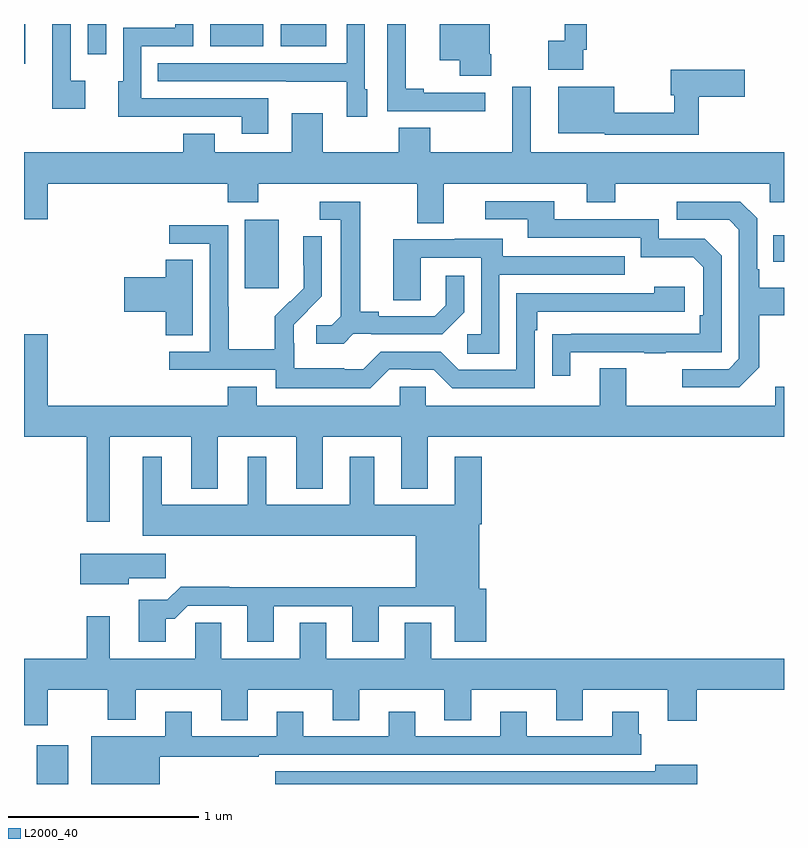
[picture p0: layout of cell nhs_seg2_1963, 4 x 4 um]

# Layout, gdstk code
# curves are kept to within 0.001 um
import gdstk
lib = gdstk.Library(unit=1e-6, precision=1e-09)
def R(c, l, rs):  # rectangles x0, y0, x1, y1
    for r in rs: c.add(gdstk.rectangle(r[:2], r[2:], *l))
def P(c, l, *ps):  # polygons
    for p in ps: c.add(gdstk.Polygon(p, *l))
L2000_40 = (2000, 40)

nhs_seg2_1963 = lib.new_cell('nhs_seg2_1963')
R(nhs_seg2_1963, L2000_40, [(213.067,653.8,213.232,654.004), (214.163,656.409,214.342,656.77), (216.943,656.549,217,656.689), (213,657.59,213.007,657.8), (213.336,657.642,213.432,657.8), (213.98,657.683,214.258,657.8), (214.352,657.683,214.591,657.8)])
P(nhs_seg2_1963, L2000_40, [(213.322,657.502),(213.246,657.502),(213.246,657.8),(213.149,657.8),(213.149,657.354),(213.322,657.354)],
  [(215.428,657.438),(215.104,657.438),(215.104,657.458),(215.009,657.458),(215.009,657.8),(214.911,657.8),(214.911,657.342),(215.428,657.342)],
  [(215.46,657.64),(215.452,657.64),(215.452,657.8),(215.189,657.8),(215.189,657.608),(215.294,657.608),(215.294,657.528),(215.46,657.528)],
  [(214.285,657.408),(213.618,657.408),(213.618,657.684),(213.891,657.684),(213.891,657.8),(213.795,657.8),(213.795,657.78),(213.522,657.78),(213.522,657.498),(213.497,657.498),(213.497,657.311),(213.715,657.311),(213.715,657.312),(214.145,657.312),(214.145,657.222),(214.285,657.222)],
  [(215.943,657.664),(215.963,657.664),(215.963,657.8),(215.846,657.8),(215.846,657.713),(215.76,657.713),(215.76,657.56),(215.943,657.56)],
  [(214.807,657.456),(214.794,657.456),(214.794,657.8),(214.698,657.8),(214.698,657.594),(213.703,657.594),(213.703,657.498),(214.381,657.498),(214.381,657.497),(214.698,657.497),(214.698,657.312),(214.807,657.312)],
  [(216.551,657.418),(216.793,657.418),(216.793,657.56),(216.404,657.56),(216.404,657.425),(216.423,657.425),(216.423,657.332),(216.106,657.332),(216.106,657.469),(215.813,657.469),(215.813,657.224),(216.057,657.224),(216.057,657.216),(216.551,657.216)],
  [(213,656.772),(213.124,656.772),(213.124,656.96),(214.073,656.96),(214.073,656.861),(214.233,656.861),(214.233,656.96),(215.069,656.96),(215.069,656.752),(215.209,656.752),(215.209,656.96),(215.963,656.96),(215.963,656.861),(216.111,656.861),(216.111,656.96),(216.924,656.96),(216.924,656.861),(217,656.861),(217,657.124),(215.668,657.124),(215.668,657.469),(215.57,657.469),(215.57,657.124),(215.137,657.124),(215.137,657.253),(214.973,657.253),(214.973,657.124),(214.573,657.124),(214.573,657.331),(214.409,657.331),(214.409,657.124),(214.003,657.124),(214.003,657.223),(213.839,657.223),(213.839,657.124),(213,657.124)],
  [(215.875,656.073),(216.265,656.073),(216.265,656.068),(216.377,656.068),(216.377,656.073),(216.672,656.073),(216.672,656.58),(216.582,656.67),(216.342,656.67),(216.342,656.772),(215.791,656.772),(215.791,656.868),(215.427,656.868),(215.427,656.772),(215.651,656.772),(215.651,656.676),(216.246,656.676),(216.246,656.573),(216.523,656.573),(216.576,656.52),(216.576,656.266),(216.556,656.266),(216.556,656.169),(215.779,656.168),(215.779,655.95),(215.875,655.95)],
  [(214.734,656.169),(214.828,656.169),(214.828,656.166),(215.2,656.166),(215.316,656.282),(215.316,656.476),(215.219,656.476),(215.219,656.319),(215.162,656.262),(214.867,656.262),(214.867,656.285),(214.771,656.285),(214.771,656.865),(214.557,656.865),(214.557,656.769),(214.667,656.769),(214.667,656.261),(214.62,656.214),(214.539,656.214),(214.539,656.117),(214.682,656.117)],
  [(216.871,655.993),(216.871,656.266),(217,656.266),(217,656.413),(216.871,656.413),(216.871,656.509),(216.858,656.509),(216.858,656.778),(216.771,656.865),(216.435,656.865),(216.435,656.769),(216.711,656.769),(216.762,656.718),(216.762,656.037),(216.708,655.983),(216.465,655.983),(216.465,655.887),(216.765,655.887)],
  [(214.923,655.983),(215.039,655.983),(215.039,655.98),(215.157,655.98),(215.253,655.884),(215.688,655.884),(215.688,656.189),(215.701,656.189),(215.701,656.286),(216.478,656.286),(216.478,656.416),(216.317,656.416),(216.317,656.382),(215.592,656.382),(215.592,655.98),(215.289,655.98),(215.193,656.076),(214.878,656.076),(214.785,655.983),(214.685,655.983),(214.685,655.987),(214.422,655.987),(214.422,656.121),(214.42,656.121),(214.42,656.218),(214.566,656.366),(214.566,656.684),(214.47,656.684),(214.47,656.53),(214.472,656.53),(214.472,656.408),(214.401,656.337),(214.398,656.34),(214.321,656.263),(214.321,656.089),(214.077,656.089),(214.077,656.312),(214.074,656.312),(214.074,656.742),(213.765,656.742),(213.765,656.643),(213.978,656.643),(213.978,656.076),(213.765,656.076),(213.765,655.98),(214.326,655.98),(214.326,655.883),(214.823,655.883)],
  [(215.502,656.481),(216.161,656.481),(216.161,656.577),(215.521,656.577),(215.521,656.671),(215.267,656.671),(215.267,656.667),(214.943,656.667),(214.943,656.347),(215.088,656.347),(215.088,656.571),(215.406,656.571),(215.406,656.166),(215.334,656.166),(215.334,656.065),(215.502,656.065)],
  [(213.889,656.558),(213.746,656.558),(213.746,656.468),(213.528,656.468),(213.528,656.285),(213.746,656.285),(213.746,656.161),(213.889,656.161)],
  [(213.451,655.628),(213.881,655.628),(213.881,655.355),(214.021,655.355),(214.021,655.628),(214.433,655.628),(214.433,655.355),(214.573,655.355),(214.573,655.628),(214.985,655.628),(214.985,655.355),(215.125,655.355),(215.125,655.628),(217,655.628),(217,655.891),(216.953,655.891),(216.953,655.792),(216.169,655.792),(216.169,655.987),(216.029,655.987),(216.029,655.792),(215.115,655.792),(215.115,655.89),(214.977,655.89),(214.977,655.792),(214.225,655.792),(214.225,655.891),(214.073,655.891),(214.073,655.792),(213.124,655.792),(213.124,656.167),(213,656.167),(213,655.628),(213.33,655.628),(213.33,655.179),(213.451,655.179)],
  [(213.745,654.671),(213.794,654.671),(213.861,654.738),(214.175,654.738),(214.175,654.549),(214.315,654.549),(214.315,654.735),(214.727,654.735),(214.727,654.549),(214.867,654.549),(214.867,654.735),(215.267,654.735),(215.267,654.549),(215.432,654.549),(215.432,654.828),(215.395,654.828),(215.395,655.166),(215.408,655.166),(215.408,655.522),(215.267,655.522),(215.267,655.27),(214.843,655.27),(214.843,655.522),(214.715,655.522),(214.715,655.27),(214.276,655.27),(214.276,655.522),(214.178,655.522),(214.178,655.27),(213.724,655.27),(213.724,655.522),(213.626,655.522),(213.626,655.106),(215.063,655.106),(215.063,654.836),(214.079,654.836),(214.079,654.839),(213.824,654.839),(213.754,654.769),(213.605,654.769),(213.605,654.549),(213.745,654.549)],
  [(213.55,654.883),(213.745,654.883),(213.745,655.012),(213.296,655.012),(213.296,654.851),(213.55,654.851)],
  [(213.124,654.296),(213.442,654.296),(213.442,654.137),(213.589,654.137),(213.589,654.296),(214.037,654.296),(214.037,654.136),(214.177,654.136),(214.177,654.296),(214.625,654.296),(214.625,654.136),(214.765,654.136),(214.765,654.296),(215.213,654.296),(215.213,654.136),(215.353,654.136),(215.353,654.296),(215.801,654.296),(215.801,654.136),(215.941,654.136),(215.941,654.296),(216.389,654.296),(216.389,654.132),(216.542,654.132),(216.542,654.296),(217,654.296),(217,654.46),(215.143,654.46),(215.143,654.65),(215.003,654.65),(215.003,654.46),(214.591,654.46),(214.591,654.65),(214.451,654.65),(214.451,654.46),(214.039,654.46),(214.039,654.65),(213.9,654.65),(213.9,654.46),(213.451,654.46),(213.451,654.682),(213.33,654.682),(213.33,654.46),(213,654.46),(213,654.108),(213.124,654.108)],
  [(213.715,653.943),(214.235,653.943),(214.235,653.955),(216.248,653.955),(216.248,654.063),(216.235,654.063),(216.235,654.181),(216.095,654.181),(216.095,654.051),(215.647,654.051),(215.647,654.181),(215.507,654.181),(215.507,654.051),(215.059,654.051),(215.059,654.181),(214.919,654.181),(214.919,654.051),(214.471,654.051),(214.471,654.181),(214.331,654.181),(214.331,654.051),(213.883,654.051),(213.883,654.181),(213.743,654.181),(213.743,654.052),(213.353,654.052),(213.353,653.8),(213.715,653.8)],
  [(216.544,653.902),(216.323,653.902),(216.323,653.866),(214.323,653.866),(214.323,653.8),(216.544,653.8)])

lib.write_gds('nhs_seg2_1963.gds')
